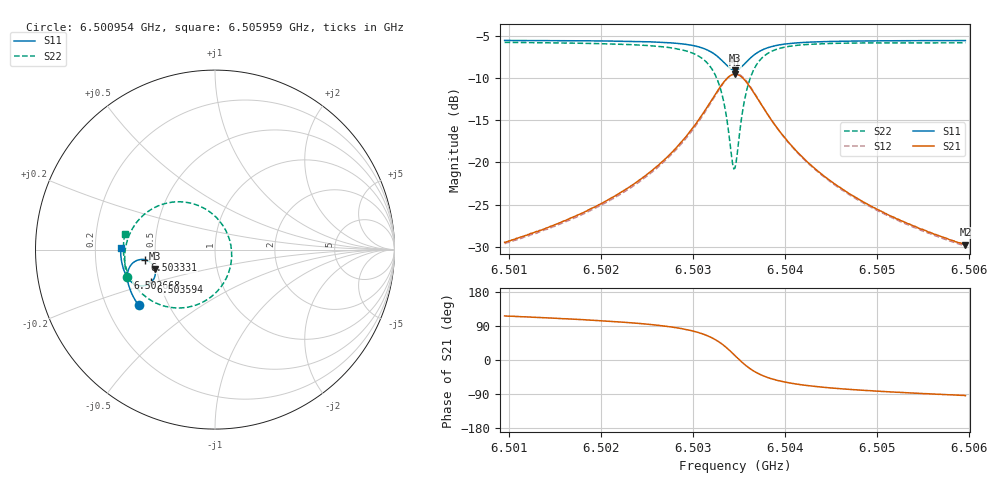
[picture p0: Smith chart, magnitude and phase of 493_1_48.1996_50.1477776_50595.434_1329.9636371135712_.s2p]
#  HZ  S  RI  R  50.00
! Rohde & Schwarz Vector Network Analyzer
! Rohde-Schwarz,ZNB20-2Port,1311601062101988,3.16
! Created: UTC 3/20/2024, 11:58:08 AM
! freq[Hz]  re:S11  im:S11  re:S21  im:S21  re:S12  im:S12  re:S22  im:S22
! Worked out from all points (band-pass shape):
!   401 points, 6.500954 GHz to 6.505959 GHz, reference 50 ohm
!   highest |S21| = -9.55 dB at 6.503457 GHz (marker M1); lowest = -29.7 dB at 6.505959 GHz (marker M2)
!   |S21| within 3 dB of the highest: 6.503207 GHz to 6.503707 GHz (500.7 kHz wide, 0.0077 % of centre)
!   lowest |S11| = -9.1 dB at 6.503457 GHz (marker M3), VSWR 2.09, Z = 24.4 - j5.91 ohm
!   |S11| at or under -10 dB: nowhere
!   |S22| runs from -20.8 to -5.8 dB; largest |S21 - S12| = 0.011
!   S11 on the Smith chart (normalised r, x): 6.500954 GHz: 0.34, -0.29; 6.502668 GHz: 0.33, -0.14; 6.503331 GHz: 0.44, -0.06; 6.503594 GHz: 0.45, -0.19; 6.505959 GHz: 0.31, +0.01
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6.5009536e9  -0.4262 -0.3101  -0.015 0.0301  -0.0133 0.0303  -0.4895 -0.155
6.5017921e9  -0.4624 -0.248  -0.0143 0.048  -0.0119 0.0477  -0.5028 -0.0659
6.5022801e9  -0.4795 -0.2045  -0.011 0.0689  -0.00794 0.0679  -0.499 0.00435
6.5026306e9  -0.4876 -0.1652  -0.00219 0.0971  0.00127 0.0948  -0.4802 0.0754
6.5026681e9  -0.488 -0.1604  -0.000396 0.1014  0.00303 0.0989  -0.4762 0.0847
6.5029434e9  -0.484 -0.1174  0.0264 0.1441  0.0299 0.1397  -0.4205 0.1706
6.5031311e9  -0.4624 -0.0791  0.081 0.1863  0.0831 0.1805  -0.3164 0.2436
6.5032438e9  -0.4295 -0.0583  0.1505 0.204  0.151 0.1983  -0.191 0.2663
6.5033314e9  -0.3888 -0.0566  0.2308 0.1877  0.2308 0.1834  -0.0527 0.2258
6.5034315e9  -0.342 -0.0913  0.3157 0.0998  0.3187 0.0959  0.0812 0.054
6.5034565e9  -0.3355 -0.1061  0.3261 0.0673  0.3295 0.0624  0.0923 -0.00685
6.5034815e9  -0.3324 -0.1222  0.3298 0.0331  0.3337 0.027  0.0904 -0.0692
6.5035441e9  -0.3395 -0.16  0.3114 -0.0457  0.314 -0.0551  0.0342 -0.2064
6.5035942e9  -0.3561 -0.1823  0.2774 -0.0919  0.2777 -0.1027  -0.043 -0.2783
6.5036442e9  -0.3763 -0.1956  0.2383 -0.1205  0.2358 -0.1312  -0.1251 -0.3148
6.5037068e9  -0.4011 -0.2022  0.1921 -0.1371  0.1872 -0.1463  -0.216 -0.3251
6.5038695e9  -0.4477 -0.1927  0.1095 -0.1338  0.1027 -0.1388  -0.365 -0.2778
6.5040447e9  -0.4754 -0.1712  0.0645 -0.1132  0.0584 -0.1155  -0.4377 -0.2122
6.504295e9  -0.4963 -0.1413  0.0342 -0.0885  0.0296 -0.0891  -0.4815 -0.1396
6.5046454e9  -0.5112 -0.1045  0.0158 -0.0663  0.0125 -0.066  -0.5032 -0.0686
6.5051334e9  -0.5215 -0.059  0.00508 -0.0484  0.00284 -0.0477  -0.5103 0.00126
6.5059594e9  -0.5265 0.0111  -0.00229 -0.0326  -0.00331 -0.0318  -0.5026 0.0889
